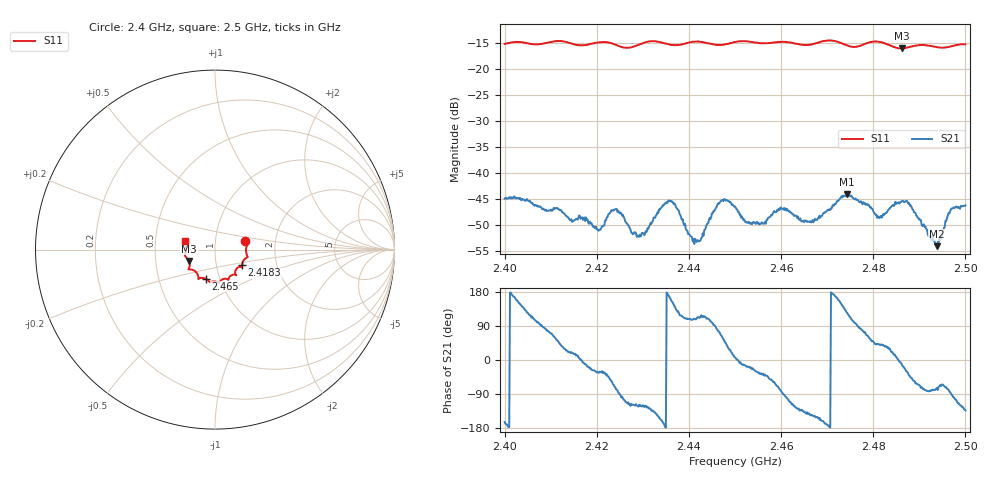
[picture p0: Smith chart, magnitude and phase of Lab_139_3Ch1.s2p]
# Hz S RI R 50
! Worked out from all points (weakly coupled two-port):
!   601 points, 2.4 GHz to 2.5 GHz, reference 50 ohm
!   highest |S21| = -44.01 dB at 2.4743 GHz (marker M1); lowest = -54.1 dB at 2.4938 GHz (marker M2)
!   lowest |S11| = -16.0 dB at 2.4862 GHz (marker M3), VSWR 1.38, Z = 37.1 - j4.81 ohm
!   |S11| at or under -10 dB: start of sweep to end of sweep
!   S12 and S22 are empty: the file has one direction only
!   S11 on the Smith chart (normalised r, x): 2.4 GHz: 1.40, +0.13; 2.4183 GHz: 1.33, -0.24; 2.465 GHz: 0.86, -0.29; 2.5 GHz: 0.71, +0.07
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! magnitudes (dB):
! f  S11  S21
! 2.4 GHz  -15.1  -45.0
! 2.4167 GHz  -15.4  -48.6
! 2.4183 GHz  -15.2  -49.8
! 2.4205 GHz  -14.8  -51.0
! 2.4242 GHz  -15.3  -46.9
! 2.4292 GHz  -15.3  -52.3
! 2.4333 GHz  -14.7  -47.7
! 2.4365 GHz  -15.4  -45.6
! 2.4417 GHz  -14.7  -53.3
! 2.4468 GHz  -15.4  -45.5
! 2.45 GHz  -14.8  -46.4
! 2.4532 GHz  -14.7  -49.7
! 2.4602 GHz  -14.7  -46.9
! 2.465 GHz  -15.4  -49.5
! 2.4667 GHz  -15.2  -49.4
! 2.4743 GHz  -15.5  -44.0
! 2.4813 GHz  -14.8  -48.7
! 2.4833 GHz  -15.3  -47.0
! 2.4862 GHz  -16.0  -45.4
! 2.4938 GHz  -15.8  -54.1
! 2.4968 GHz  -15.6  -47.0
! 2.5 GHz  -15.2  -46.2
